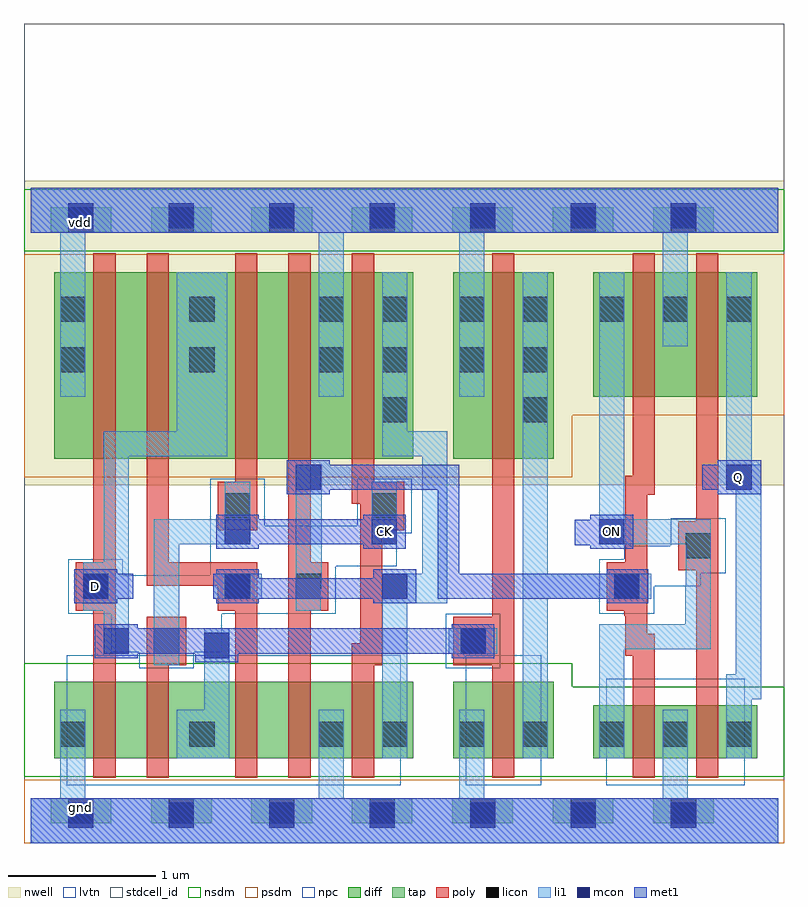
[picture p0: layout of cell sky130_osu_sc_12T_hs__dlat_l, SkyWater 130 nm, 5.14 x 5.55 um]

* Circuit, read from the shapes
.subckt sky130_osu_sc_12T_hs__dlat_l CK D ON Q gnd vdd
XM1 n1 D gnd gnd sky130_fd_pr__nfet_01v8_lvt w=0.52 l=0.15
XM2 D CK n1 gnd sky130_fd_pr__nfet_01v8_lvt w=0.52 l=0.15
XM3 n2 n3 D gnd sky130_fd_pr__nfet_01v8_lvt w=0.52 l=0.15
XM4 gnd n4 n2 gnd sky130_fd_pr__nfet_01v8_lvt w=0.52 l=0.15
XM5 n3 CK gnd gnd sky130_fd_pr__nfet_01v8_lvt w=0.52 l=0.15
XM6 n4 D gnd gnd sky130_fd_pr__nfet_01v8_lvt w=0.52 l=0.15
XM7 gnd n4 ON gnd sky130_fd_pr__nfet_01v8_lvt w=0.36 l=0.15
XM8 Q ON gnd gnd sky130_fd_pr__nfet_01v8_lvt w=0.36 l=0.15
XM9 n5 D vdd vdd sky130_fd_pr__pfet_01v8 w=1.26 l=0.15
XM10 D n3 n5 vdd sky130_fd_pr__pfet_01v8 w=1.26 l=0.15
XM11 n6 CK D vdd sky130_fd_pr__pfet_01v8 w=1.26 l=0.15
XM12 vdd n4 n6 vdd sky130_fd_pr__pfet_01v8 w=1.26 l=0.15
XM13 n3 CK vdd vdd sky130_fd_pr__pfet_01v8 w=1.26 l=0.15
XM14 n4 D vdd vdd sky130_fd_pr__pfet_01v8 w=1.26 l=0.15
XM15 vdd n4 ON vdd sky130_fd_pr__pfet_01v8 w=0.84 l=0.15
XM16 Q ON vdd vdd sky130_fd_pr__pfet_01v8 w=0.84 l=0.15
.ends

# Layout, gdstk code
import gdstk
lib = gdstk.Library(unit=1e-6, precision=1e-09)
def R(c, l, rs):  # rectangles x0, y0, x1, y1
    for r in rs: c.add(gdstk.rectangle(r[:2], r[2:], *l))
def A(c, l, x, y, w, h, nx, ny, dx, dy):  # array of equal rectangles
    R(c, l, [(x+i*dx, y+j*dy, x+i*dx+w, y+j*dy+h) for i in range(nx) for j in range(ny)])
nwell = (64, 20)
diff = (65, 20)
tap = (65, 44)
poly = (66, 20)
licon = (66, 44)
li1 = (67, 20)
mcon = (67, 44)
met1 = (68, 20)
stdcell_id = (81, 4)
nsdm = (93, 44)
psdm = (94, 20)
npc = (95, 20)
lvtn = (125, 44)

sky130_osu_sc_12t_hs__dl = lib.new_cell('sky130_osu_sc_12T_hs__dlat_l')
R(sky130_osu_sc_12t_hs__dl, nwell, [(-0.045,2.425,5.1,4.485)])
R(sky130_osu_sc_12t_hs__dl, diff, [(0.16,0.575,2.59,1.095), (2.86,0.575,3.54,1.095), (3.81,0.575,4.92,0.935), (0.16,2.605,2.59,3.865), (2.86,2.605,3.54,3.865), (3.81,3.025,4.92,3.865)])
A(sky130_osu_sc_12t_hs__dl, tap, 0.135, 0.135, 0.41, 0.17, 7, 2, 0.68, 4)
R(sky130_osu_sc_12t_hs__dl, poly, [(0.425,0.445,0.575,1.575), (0.785,0.445,0.935,1.205), (1.385,0.445,1.535,1.575), (1.745,0.445,1.895,1.575), (2.175,0.445,2.325,1.205), (3.125,0.445,3.275,1.205), (4.075,0.445,4.225,1.27), (4.505,0.445,4.655,1.85), (0.785,1.205,1.055,1.535), (2.175,1.205,2.38,1.355), (2.86,1.205,3.275,1.535), (4.025,1.27,4.225,1.42), (2.23,1.355,2.38,2.12), (4.025,1.42,4.175,1.54), (3.125,1.535,3.275,3.995), (4.02,1.54,4.175,1.575), (0.305,1.575,0.575,1.905), (1.265,1.575,1.535,1.745), (1.745,1.575,2.015,1.905), (3.9,1.575,4.175,1.905), (0.785,1.745,1.535,1.905), (4.385,1.85,4.655,2.18), (0.425,1.905,0.575,3.995), (0.785,1.905,0.935,3.995), (1.745,1.905,1.895,3.995), (4.025,1.905,4.175,2.36), (1.265,2.12,1.535,2.45), (2.23,2.12,2.53,2.3), (4.505,2.18,4.655,3.995), (2.175,2.3,2.53,2.45), (4.025,2.36,4.225,2.49), (1.385,2.45,1.535,3.995), (2.175,2.45,2.325,3.995), (4.075,2.49,4.225,3.995)])
A(sky130_osu_sc_12t_hs__dl, licon, 0.255, 0.135, 0.17, 0.17, 7, 2, 0.68, 4)
A(sky130_osu_sc_12t_hs__dl, licon, 0.2, 0.655, 0.17, 0.17, 3, 2, 0.875, 2.535)
A(sky130_osu_sc_12t_hs__dl, licon, 3.85, 0.655, 0.17, 0.17, 3, 2, 0.43, 2.875)
A(sky130_osu_sc_12t_hs__dl, licon, 2.38, 2.85, 0.17, 0.17, 1, 3, 0, 0.34)
A(sky130_osu_sc_12t_hs__dl, licon, 3.33, 2.85, 0.17, 0.17, 1, 3, 0, 0.34)
A(sky130_osu_sc_12t_hs__dl, licon, 0.2, 3.53, 0.17, 0.17, 3, 1, 0.875, 0)
R(sky130_osu_sc_12t_hs__dl, licon, [(2.38,0.655,2.55,0.825), (2.9,0.655,3.07,0.825), (3.33,0.655,3.5,0.825), (0.835,1.285,1.005,1.455), (2.91,1.285,3.08,1.455), (0.355,1.655,0.525,1.825), (1.315,1.655,1.485,1.825), (1.795,1.655,1.965,1.825), (3.95,1.655,4.12,1.825), (4.435,1.93,4.605,2.1), (1.315,2.2,1.485,2.37), (2.31,2.2,2.48,2.37), (2.9,3.19,3.07,3.36), (2.9,3.53,3.07,3.7)])
R(sky130_osu_sc_12t_hs__dl, li1, [(0,0,5.06,0.305), (0.2,0.305,0.37,0.905), (1.95,0.305,2.12,0.905), (2.9,0.305,3.07,0.905), (4.28,0.305,4.45,0.905), (0.99,0.575,1.345,0.905), (2.38,0.575,2.55,1.625), (3.33,0.575,3.5,1.655), (3.85,0.575,4.02,1.315), (4.71,0.575,4.88,0.975), (1.175,0.905,1.345,1.455), (4.71,0.975,4.945,1.145), (4.775,1.145,4.945,2.395), (0.835,1.205,1.005,2.025), (0.495,1.285,0.665,1.575), (2.83,1.285,3.16,1.455), (3.85,1.315,4.605,1.485), (4.43,1.485,4.605,1.745), (0.355,1.575,0.665,1.905), (1.795,1.575,1.965,1.725), (2.38,1.625,2.82,1.825), (1.235,1.655,1.565,1.825), (3.33,1.655,4.2,1.825), (1.795,1.725,1.97,2.565), (4.435,1.745,4.605,2.025), (2.65,1.825,2.82,2.62), (3.33,1.825,3.5,3.865), (0.495,1.905,0.665,2.62), (0.835,2.025,1.485,2.195), (2.31,2.025,2.48,2.45), (3.85,2.025,4.605,2.195), (1.315,2.195,1.485,2.45), (3.85,2.195,4.02,3.865), (4.71,2.395,4.945,2.565), (4.71,2.565,4.88,3.865), (0.495,2.62,1.33,2.79), (2.38,2.62,2.82,2.79), (0.99,2.79,1.33,3.865), (2.38,2.79,2.55,3.865), (0.2,3.025,0.37,4.135), (1.95,3.025,2.12,4.135), (2.9,3.025,3.07,4.135), (4.28,3.365,4.45,4.135), (0,4.135,5.06,4.44)])
A(sky130_osu_sc_12t_hs__dl, mcon, 0.255, 0.105, 0.17, 0.17, 7, 2, 0.68, 4.06)
R(sky130_osu_sc_12t_hs__dl, mcon, [(1.175,1.255,1.345,1.425), (0.495,1.285,0.665,1.455), (2.91,1.285,3.08,1.455), (0.355,1.655,0.525,1.825), (1.315,1.655,1.485,1.825), (2.38,1.655,2.55,1.825), (3.95,1.655,4.12,1.825), (1.315,2.025,1.485,2.195), (2.31,2.025,2.48,2.195), (3.85,2.025,4.02,2.195), (1.795,2.395,1.965,2.565), (4.71,2.395,4.88,2.565)])
R(sky130_osu_sc_12t_hs__dl, met1, [(0,0,5.06,0.305), (1.115,1.225,1.405,1.285), (0.435,1.255,0.725,1.285), (2.85,1.255,3.14,1.285), (0.435,1.285,3.14,1.455), (0.435,1.455,0.725,1.485), (2.85,1.455,3.14,1.485), (0.295,1.625,0.585,1.655), (1.255,1.625,1.545,1.655), (2.32,1.625,2.61,1.655), (3.9,1.625,4.18,1.655), (0.295,1.655,0.695,1.825), (1.235,1.655,2.61,1.795), (2.755,1.655,4.18,1.825), (1.235,1.795,1.545,1.825), (2.32,1.795,2.61,1.855), (0.295,1.825,0.585,1.855), (1.255,1.825,1.545,1.855), (2.755,1.825,2.9,2.395), (3.9,1.825,4.18,1.855), (1.255,1.995,1.545,2.025), (2.25,1.995,2.54,2.025), (3.79,1.995,4.08,2.02), (3.685,2.02,4.08,2.19), (1.255,2.025,2.54,2.195), (3.79,2.19,4.08,2.225), (1.255,2.195,1.545,2.225), (2.25,2.195,2.54,2.225), (1.735,2.365,2.025,2.395), (4.65,2.365,4.945,2.395), (1.735,2.395,2.9,2.565), (4.545,2.395,4.945,2.565), (1.735,2.565,2.025,2.595), (4.65,2.565,4.945,2.595), (0,4.135,5.06,4.44)])
R(sky130_osu_sc_12t_hs__dl, stdcell_id, [(-0.045,0,5.1,5.55)])
R(sky130_osu_sc_12t_hs__dl, nsdm, [(-0.045,0.45,5.1,1.06), (-0.045,1.06,3.665,1.22), (-0.045,4.01,5.1,4.43)])
R(sky130_osu_sc_12t_hs__dl, psdm, [(-0.045,0,5.1,0.43), (-0.045,2.48,3.665,2.9), (-0.045,2.9,5.1,3.99)])
R(sky130_osu_sc_12t_hs__dl, npc, [(0.735,1.185,1.105,1.295), (2.81,1.185,3.18,1.555), (0.545,1.295,1.295,1.555), (0.255,1.555,2.065,1.815), (3.85,1.555,4.22,1.74), (3.85,1.74,4.535,1.83), (0.255,1.815,0.625,1.925), (1.215,1.815,2.065,1.875), (3.85,1.83,4.705,1.925), (1.215,1.875,2.48,2.1), (4.02,1.925,4.705,2.015), (4.335,2.015,4.705,2.2), (1.215,2.1,2.58,2.15), (1.215,2.15,1.585,2.47), (2.21,2.15,2.58,2.47)])
R(sky130_osu_sc_12t_hs__dl, lvtn, [(0.245,0.395,2.505,1.275), (2.945,0.395,3.455,1.275), (3.895,0.395,4.835,1.115)])
sky130_osu_sc_12t_hs__dl.add(gdstk.Label('gnd', (0.34,0.245), layer=68, texttype=16))
sky130_osu_sc_12t_hs__dl.add(gdstk.Label('vdd', (0.34,4.205), layer=68, texttype=16))
sky130_osu_sc_12t_hs__dl.add(gdstk.Label('CK', (2.395,2.11), layer=68, texttype=5))
sky130_osu_sc_12t_hs__dl.add(gdstk.Label('ON', (3.935,2.11), layer=68, texttype=5))
sky130_osu_sc_12t_hs__dl.add(gdstk.Label('D', (0.44,1.74), layer=68, texttype=5))
sky130_osu_sc_12t_hs__dl.add(gdstk.Label('Q', (4.795,2.48), layer=68, texttype=5))

lib.write_gds('sky130_osu_sc_12T_hs__dlat_l.gds')
